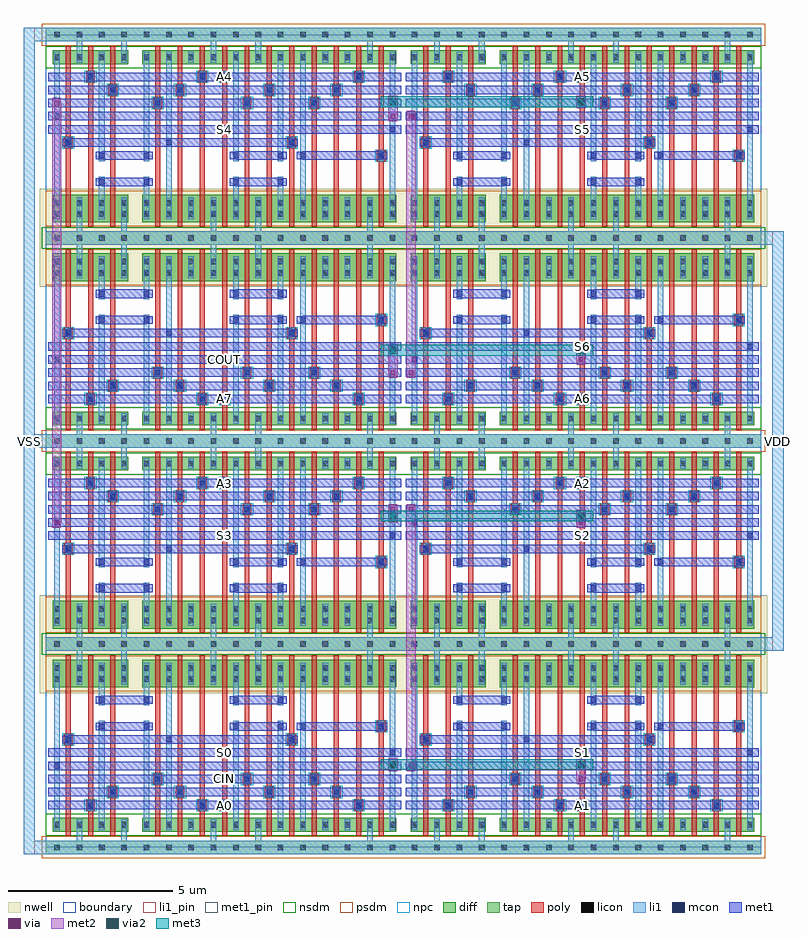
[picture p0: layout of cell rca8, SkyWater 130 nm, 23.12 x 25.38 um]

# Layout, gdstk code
import gdstk
lib = gdstk.Library(unit=1e-6, precision=1e-09)
def R(c, l, rs):  # rectangles x0, y0, x1, y1
    for r in rs: c.add(gdstk.rectangle(r[:2], r[2:], *l))
def A(c, l, x, y, w, h, nx, ny, dx, dy):  # array of equal rectangles
    R(c, l, [(x+i*dx, y+j*dy, x+i*dx+w, y+j*dy+h) for i in range(nx) for j in range(ny)])
nwell = (64, 20)
diff = (65, 20)
tap = (65, 44)
poly = (66, 20)
licon = (66, 44)
li1_pin = (67, 16)
li1 = (67, 20)
mcon = (67, 44)
met1_pin = (68, 16)
met1 = (68, 20)
via = (68, 44)
met2 = (69, 20)
via2 = (69, 44)
met3 = (70, 20)
nsdm = (93, 44)
psdm = (94, 20)
npc = (95, 20)
boundary = (235, 4)

c_fa = lib.new_cell('fa')
R(c_fa, nwell, [(-0.18,4.685,11.06,6.565)])
R(c_fa, diff, [(0.215,0.475,2.505,0.895), (2.935,0.475,10.665,0.895), (0.215,4.865,2.505,5.705), (2.935,4.865,10.665,5.705)])
R(c_fa, tap, [(0,-0.205,10.88,0.205), (0,5.975,10.88,6.385)])
A(c_fa, poly, 0.605, 0.345, 0.15, 0.68, 3, 1, 0.68, 0)
A(c_fa, poly, 3.325, 0.345, 0.15, 0.68, 11, 1, 0.68, 0)
A(c_fa, poly, 0.605, 1.025, 0.15, 3.71, 3, 1, 0.68, 0)
A(c_fa, poly, 3.325, 1.025, 0.15, 3.71, 11, 1, 0.68, 0)
A(c_fa, poly, 0.605, 4.735, 0.15, 1.1, 3, 1, 0.68, 0)
A(c_fa, poly, 3.325, 4.735, 0.15, 1.1, 11, 1, 0.68, 0)
R(c_fa, poly, [(1.225,1.115,1.495,1.445), (4.625,1.115,4.895,1.445), (5.305,1.115,5.575,1.445), (9.385,1.115,9.655,1.445), (1.905,1.515,2.175,1.845), (3.945,1.515,4.215,1.845), (6.665,1.515,6.935,1.845), (8.705,1.515,8.975,1.845), (3.265,1.915,3.535,2.245), (5.985,1.915,6.255,2.245), (8.025,1.915,8.295,2.245), (0.545,3.115,0.815,3.445), (7.345,3.115,7.615,3.445), (10.065,3.515,10.335,3.845)])
A(c_fa, licon, 0.255, -0.085, 0.17, 0.17, 16, 2, 0.68, 0.685)
A(c_fa, licon, 0.255, 5.03, 0.17, 0.17, 16, 2, 0.68, 0.34)
A(c_fa, licon, 0.255, 6.095, 0.17, 0.17, 16, 1, 0.68, 0)
R(c_fa, licon, [(1.275,1.195,1.445,1.365), (4.675,1.195,4.845,1.365), (5.355,1.195,5.525,1.365), (9.435,1.195,9.605,1.365), (1.955,1.595,2.125,1.765), (3.995,1.595,4.165,1.765), (6.715,1.595,6.885,1.765), (8.755,1.595,8.925,1.765), (3.315,1.995,3.485,2.165), (6.035,1.995,6.205,2.165), (8.075,1.995,8.245,2.165), (0.595,3.195,0.765,3.365), (7.395,3.195,7.565,3.365), (10.115,3.595,10.285,3.765)])
R(c_fa, li1_pin, [(0,-0.205,10.88,0.205), (0,5.975,10.88,6.385)])
A(c_fa, li1, 0.255, 0.52, 0.17, 0.33, 16, 1, 0.68, 0)
A(c_fa, li1, 0.255, 4.95, 0.17, 0.67, 16, 1, 0.68, 0)
R(c_fa, li1, [(0,-0.205,10.88,0.205), (0.935,0,1.105,0.52), (2.295,0,2.465,0.52), (5.015,0,5.185,0.52), (6.375,0,6.545,0.52), (9.775,0,9.945,0.52), (0.255,0.85,0.425,2.48), (1.615,0.85,1.785,3.68), (2.975,0.85,3.145,3.68), (3.655,0.85,3.825,3.28), (5.695,0.85,5.865,3.68), (7.055,0.85,7.225,3.68), (7.735,0.85,7.905,3.68), (10.455,0.85,10.625,2.88), (1.275,1.115,1.445,1.445), (4.675,1.115,4.845,1.445), (5.355,1.115,5.525,1.445), (9.435,1.115,9.605,1.445), (1.955,1.515,2.125,1.845), (3.995,1.515,4.165,1.845), (6.715,1.515,6.885,1.845), (8.755,1.515,8.925,1.845), (3.315,1.915,3.485,2.245), (6.035,1.915,6.205,2.245), (8.075,1.915,8.245,2.245), (0.255,2.315,0.425,2.645), (0.255,2.315,0.425,2.645), (0.255,2.48,0.425,4.95), (10.455,2.715,10.625,3.045), (10.455,2.715,10.625,3.045), (10.455,2.88,10.625,4.95), (0.595,3.115,0.765,3.445), (3.655,3.115,3.825,3.445), (3.655,3.115,3.825,3.445), (7.395,3.115,7.565,3.445), (3.655,3.28,3.825,4.95), (1.615,3.515,1.785,3.845), (2.975,3.515,3.145,3.845), (5.695,3.515,5.865,3.845), (7.055,3.515,7.225,3.845), (7.735,3.515,7.905,3.845), (7.735,3.515,7.905,3.845), (10.115,3.515,10.285,3.845), (7.735,3.68,7.905,4.95), (1.615,4.315,1.785,4.645), (2.975,4.315,3.145,4.645), (5.695,4.315,5.865,4.645), (7.055,4.315,7.225,4.645), (1.615,4.48,1.785,4.95), (2.975,4.48,3.145,4.95), (5.695,4.48,5.865,4.95), (7.055,4.48,7.225,4.95), (0.935,5.62,1.105,6.18), (2.295,5.62,2.465,6.18), (5.015,5.62,5.185,6.18), (6.375,5.62,6.545,6.18), (9.775,5.62,9.945,6.18), (0,5.975,10.88,6.385)])
R(c_fa, mcon, [(1.275,1.195,1.445,1.365), (4.675,1.195,4.845,1.365), (5.355,1.195,5.525,1.365), (9.435,1.195,9.605,1.365), (1.955,1.595,2.125,1.765), (3.995,1.595,4.165,1.765), (6.715,1.595,6.885,1.765), (8.755,1.595,8.925,1.765), (3.315,1.995,3.485,2.165), (6.035,1.995,6.205,2.165), (8.075,1.995,8.245,2.165), (0.255,2.395,0.425,2.565), (0.255,2.395,0.425,2.565), (10.455,2.795,10.625,2.965), (10.455,2.795,10.625,2.965), (0.595,3.195,0.765,3.365), (3.655,3.195,3.825,3.365), (3.655,3.195,3.825,3.365), (7.395,3.195,7.565,3.365), (1.615,3.595,1.785,3.765), (2.975,3.595,3.145,3.765), (5.695,3.595,5.865,3.765), (7.055,3.595,7.225,3.765), (7.735,3.595,7.905,3.765), (7.735,3.595,7.905,3.765), (10.115,3.595,10.285,3.765), (1.615,4.395,1.785,4.565), (2.975,4.395,3.145,4.565), (5.695,4.395,5.865,4.565), (7.055,4.395,7.225,4.565)])
A(c_fa, met1_pin, 0.07, 1.15, 10.74, 0.26, 1, 5, 0, 0.4)
A(c_fa, met1, 0.07, 1.15, 10.74, 0.26, 1, 5, 0, 0.4)
R(c_fa, met1, [(1.175,1.165,1.545,1.395), (4.575,1.165,4.945,1.395), (5.255,1.165,5.625,1.395), (9.335,1.165,9.705,1.395), (1.855,1.565,2.225,1.795), (3.895,1.565,4.265,1.795), (6.615,1.565,6.985,1.795), (8.655,1.565,9.025,1.795), (3.215,1.965,3.585,2.195), (5.935,1.965,6.305,2.195), (7.975,1.965,8.345,2.195), (0.155,2.365,0.525,2.595), (0.155,2.365,0.525,2.595), (10.355,2.765,10.725,2.995), (10.355,2.765,10.725,2.995), (0.68,3.15,7.48,3.41), (0.495,3.165,0.865,3.395), (3.555,3.165,3.925,3.395), (3.555,3.165,3.925,3.395), (7.295,3.165,7.665,3.395), (1.7,3.55,3.06,3.81), (5.78,3.55,7.14,3.81), (7.82,3.55,10.2,3.81), (1.515,3.565,1.885,3.795), (2.875,3.565,3.245,3.795), (5.595,3.565,5.965,3.795), (6.955,3.565,7.325,3.795), (7.635,3.565,8.005,3.795), (7.635,3.565,8.005,3.795), (10.015,3.565,10.385,3.795), (1.7,4.35,3.06,4.61), (5.78,4.35,7.14,4.61), (1.515,4.365,1.885,4.595), (2.875,4.365,3.245,4.595), (5.595,4.365,5.965,4.595), (6.955,4.365,7.325,4.595)])
R(c_fa, nsdm, [(0,0.35,10.88,1.02), (-0.125,5.85,11.005,6.51)])
R(c_fa, psdm, [(-0.125,-0.33,11.005,0.33), (0,4.74,10.88,5.83)])
R(c_fa, npc, [(1.175,1.095,1.545,1.465), (4.575,1.095,4.945,1.465), (5.255,1.095,5.625,1.465), (9.335,1.095,9.705,1.465), (1.855,1.495,2.225,1.865), (3.895,1.495,4.265,1.865), (6.615,1.495,6.985,1.865), (8.655,1.495,9.025,1.865), (3.215,1.895,3.585,2.265), (5.935,1.895,6.305,2.265), (7.975,1.895,8.345,2.265), (0.495,3.095,0.865,3.465), (7.295,3.095,7.665,3.465), (10.015,3.495,10.385,3.865)])
R(c_fa, boundary, [(0,0,10.88,6.18)])
c_fa.add(gdstk.Label('VSS', (5.44,0), layer=67, texttype=16))
c_fa.add(gdstk.Label('VDD', (5.44,6.18), layer=67, texttype=16))
c_fa.add(gdstk.Label('VSS', (5.44,0), layer=67, texttype=5))
c_fa.add(gdstk.Label('VDD', (5.44,6.18), layer=67, texttype=5))
c_fa.add(gdstk.Label('COUT', (5.44,2.48), layer=68, texttype=16))
c_fa.add(gdstk.Label('SUM', (5.44,2.88), layer=68, texttype=16))
c_fa.add(gdstk.Label('A', (5.44,1.28), layer=68, texttype=16))
c_fa.add(gdstk.Label('B', (5.44,1.68), layer=68, texttype=16))
c_fa.add(gdstk.Label('CIN', (5.44,2.08), layer=68, texttype=16))
c_fa.add(gdstk.Label('COUT', (5.44,2.48), layer=68, texttype=5))
c_fa.add(gdstk.Label('SUM', (5.44,2.88), layer=68, texttype=5))
c_fa.add(gdstk.Label('A', (5.44,1.28), layer=68, texttype=5))
c_fa.add(gdstk.Label('B', (5.44,1.68), layer=68, texttype=5))
c_fa.add(gdstk.Label('CIN', (5.44,2.08), layer=68, texttype=5))

rca8 = lib.new_cell('rca8')
R(rca8, li1_pin, [(-0.68,-0.205,-0.34,24.925), (22.1,5.975,22.44,18.745)])
A(rca8, li1, -0.68, -0.205, 0.68, 0.41, 1, 3, 0, 12.36)
R(rca8, li1, [(-0.68,-0.205,-0.34,24.925), (21.76,5.975,22.44,6.385), (22.1,5.975,22.44,18.745), (21.76,18.335,22.44,18.745)])
A(rca8, met1_pin, 0.07, 1.15, 10.74, 0.26, 1, 3, 0, 0.4)
R(rca8, met1_pin, [(10.95,1.15,21.69,1.41), (10.95,1.55,21.69,1.81), (0.07,2.75,10.81,3.01), (10.95,2.75,21.69,3.01), (0.07,9.35,10.81,9.61), (10.95,9.35,21.69,9.61), (0.07,10.55,10.81,10.81), (10.95,10.55,21.69,10.81), (0.07,10.95,10.81,11.21), (10.95,10.95,21.69,11.21), (0.07,13.51,10.81,13.77), (10.95,13.51,21.69,13.77), (0.07,13.91,10.81,14.17), (10.95,13.91,21.69,14.17), (0.07,14.71,10.81,14.97), (0.07,15.11,10.81,15.37), (10.95,15.11,21.69,15.37), (0.07,21.71,10.81,21.97), (10.95,21.71,21.69,21.97), (0.07,22.91,10.81,23.17), (10.95,22.91,21.69,23.17), (0.07,23.31,10.81,23.57), (10.95,23.31,21.69,23.57)])
R(rca8, met1, [(16.12,1.95,16.44,2.21), (10.4,2.35,10.72,2.61), (10.95,2.35,11.27,2.61), (0.17,9.75,0.49,10.01), (16.12,9.75,16.44,10.01), (10.4,10.15,10.72,10.41), (10.95,10.15,11.27,10.41), (10.4,14.31,10.72,14.57), (10.95,14.31,11.27,14.57), (16.12,14.71,16.44,14.97), (10.4,22.11,10.72,22.37), (10.95,22.11,11.27,22.37), (0.17,22.51,0.49,22.77), (16.12,22.51,16.44,22.77)])
R(rca8, via, [(16.205,2.005,16.355,2.155), (10.485,2.405,10.635,2.555), (11.035,2.405,11.185,2.555), (0.255,9.805,0.405,9.955), (16.205,9.805,16.355,9.955), (10.485,10.205,10.635,10.355), (11.035,10.205,11.185,10.355), (10.485,14.365,10.635,14.515), (11.035,14.365,11.185,14.515), (16.205,14.765,16.355,14.915), (10.485,22.165,10.635,22.315), (11.035,22.165,11.185,22.315), (0.255,22.565,0.405,22.715), (16.205,22.565,16.355,22.715)])
R(rca8, met2, [(16.15,1.92,16.41,2.24), (16.14,2.08,16.42,2.52), (10.43,2.32,10.69,2.64), (10.98,2.32,11.24,2.64), (10.42,2.335,10.7,2.705), (16.14,2.335,16.42,2.705), (10.42,2.48,10.7,2.52), (10.97,2.48,11.25,10.28), (0.2,9.72,0.46,10.04), (16.15,9.72,16.41,10.04), (0.19,9.88,0.47,22.64), (16.14,9.88,16.42,10.08), (10.42,9.895,10.7,10.265), (16.14,9.895,16.42,10.265), (10.42,10.08,10.7,10.28), (10.43,10.12,10.69,10.44), (10.98,10.12,11.24,10.44), (10.43,14.28,10.69,14.6), (10.98,14.28,11.24,14.6), (10.42,14.44,10.7,15.12), (10.97,14.44,11.25,22.24), (16.15,14.68,16.41,15), (16.14,14.84,16.42,15.12), (10.42,14.935,10.7,15.305), (16.14,14.935,16.42,15.305), (10.43,22.08,10.69,22.4), (10.98,22.08,11.24,22.4), (10.42,22.24,10.7,22.68), (0.2,22.48,0.46,22.8), (16.15,22.48,16.41,22.8), (10.42,22.495,10.7,22.865), (16.14,22.495,16.42,22.865), (16.14,22.64,16.42,22.68)])
R(rca8, via2, [(10.46,2.42,10.66,2.62), (16.18,2.42,16.38,2.62), (10.46,9.98,10.66,10.18), (16.18,9.98,16.38,10.18), (10.46,15.02,10.66,15.22), (16.18,15.02,16.38,15.22), (10.46,22.58,10.66,22.78), (16.18,22.58,16.38,22.78)])
R(rca8, met3, [(10.195,2.355,10.925,2.685), (10.56,2.355,16.28,2.685), (15.915,2.355,16.645,2.685), (10.195,9.915,10.925,10.245), (10.56,9.915,16.28,10.245), (15.915,9.915,16.645,10.245), (10.195,14.955,10.925,15.285), (10.56,14.955,16.28,15.285), (15.915,14.955,16.645,15.285), (10.195,22.515,10.925,22.845), (10.56,22.515,16.28,22.845), (15.915,22.515,16.645,22.845)])
rca8.add(gdstk.Reference(c_fa, (0,0)))
rca8.add(gdstk.Reference(c_fa, (10.88,0)))
rca8.add(gdstk.Reference(c_fa, (0,12.36), x_reflection=True))
rca8.add(gdstk.Reference(c_fa, (10.88,12.36), x_reflection=True))
rca8.add(gdstk.Reference(c_fa, (0,12.36)))
rca8.add(gdstk.Reference(c_fa, (10.88,12.36)))
rca8.add(gdstk.Reference(c_fa, (0,24.72), x_reflection=True))
rca8.add(gdstk.Reference(c_fa, (10.88,24.72), x_reflection=True))
rca8.add(gdstk.Label('VSS', (-0.51,12.36), layer=67, texttype=16))
rca8.add(gdstk.Label('VDD', (22.27,12.36), layer=67, texttype=16))
rca8.add(gdstk.Label('VSS', (-0.51,12.36), layer=67, texttype=5))
rca8.add(gdstk.Label('VDD', (22.27,12.36), layer=67, texttype=5))
rca8.add(gdstk.Label('A0', (5.44,1.28), layer=68, texttype=16))
rca8.add(gdstk.Label('A1', (16.32,1.28), layer=68, texttype=16))
rca8.add(gdstk.Label('A2', (16.32,11.08), layer=68, texttype=16))
rca8.add(gdstk.Label('A3', (5.44,11.08), layer=68, texttype=16))
rca8.add(gdstk.Label('A4', (5.44,23.44), layer=68, texttype=16))
rca8.add(gdstk.Label('A5', (16.32,23.44), layer=68, texttype=16))
rca8.add(gdstk.Label('A6', (16.32,13.64), layer=68, texttype=16))
rca8.add(gdstk.Label('A7', (5.44,13.64), layer=68, texttype=16))
rca8.add(gdstk.Label('B0', (5.44,1.68), layer=68, texttype=16))
rca8.add(gdstk.Label('B1', (16.32,1.68), layer=68, texttype=16))
rca8.add(gdstk.Label('B2', (16.32,10.68), layer=68, texttype=16))
rca8.add(gdstk.Label('B3', (5.44,10.68), layer=68, texttype=16))
rca8.add(gdstk.Label('B4', (5.44,23.04), layer=68, texttype=16))
rca8.add(gdstk.Label('B5', (16.32,23.04), layer=68, texttype=16))
rca8.add(gdstk.Label('B6', (16.32,14.04), layer=68, texttype=16))
rca8.add(gdstk.Label('B7', (5.44,14.04), layer=68, texttype=16))
rca8.add(gdstk.Label('CIN', (5.44,2.08), layer=68, texttype=16))
rca8.add(gdstk.Label('COUT', (5.44,14.84), layer=68, texttype=16))
rca8.add(gdstk.Label('S0', (5.44,2.88), layer=68, texttype=16))
rca8.add(gdstk.Label('S1', (16.32,2.88), layer=68, texttype=16))
rca8.add(gdstk.Label('S2', (16.32,9.48), layer=68, texttype=16))
rca8.add(gdstk.Label('S3', (5.44,9.48), layer=68, texttype=16))
rca8.add(gdstk.Label('S4', (5.44,21.84), layer=68, texttype=16))
rca8.add(gdstk.Label('S5', (16.32,21.84), layer=68, texttype=16))
rca8.add(gdstk.Label('S6', (16.32,15.24), layer=68, texttype=16))
rca8.add(gdstk.Label('S7', (5.44,15.24), layer=68, texttype=16))
rca8.add(gdstk.Label('A0', (5.44,1.28), layer=68, texttype=5))
rca8.add(gdstk.Label('A1', (16.32,1.28), layer=68, texttype=5))
rca8.add(gdstk.Label('A2', (16.32,11.08), layer=68, texttype=5))
rca8.add(gdstk.Label('A3', (5.44,11.08), layer=68, texttype=5))
rca8.add(gdstk.Label('A4', (5.44,23.44), layer=68, texttype=5))
rca8.add(gdstk.Label('A5', (16.32,23.44), layer=68, texttype=5))
rca8.add(gdstk.Label('A6', (16.32,13.64), layer=68, texttype=5))
rca8.add(gdstk.Label('A7', (5.44,13.64), layer=68, texttype=5))
rca8.add(gdstk.Label('B0', (5.44,1.68), layer=68, texttype=5))
rca8.add(gdstk.Label('B1', (16.32,1.68), layer=68, texttype=5))
rca8.add(gdstk.Label('B2', (16.32,10.68), layer=68, texttype=5))
rca8.add(gdstk.Label('B3', (5.44,10.68), layer=68, texttype=5))
rca8.add(gdstk.Label('B4', (5.44,23.04), layer=68, texttype=5))
rca8.add(gdstk.Label('B5', (16.32,23.04), layer=68, texttype=5))
rca8.add(gdstk.Label('B6', (16.32,14.04), layer=68, texttype=5))
rca8.add(gdstk.Label('B7', (5.44,14.04), layer=68, texttype=5))
rca8.add(gdstk.Label('CIN', (5.44,2.08), layer=68, texttype=5))
rca8.add(gdstk.Label('COUT', (5.44,14.84), layer=68, texttype=5))
rca8.add(gdstk.Label('S0', (5.44,2.88), layer=68, texttype=5))
rca8.add(gdstk.Label('S1', (16.32,2.88), layer=68, texttype=5))
rca8.add(gdstk.Label('S2', (16.32,9.48), layer=68, texttype=5))
rca8.add(gdstk.Label('S3', (5.44,9.48), layer=68, texttype=5))
rca8.add(gdstk.Label('S4', (5.44,21.84), layer=68, texttype=5))
rca8.add(gdstk.Label('S5', (16.32,21.84), layer=68, texttype=5))
rca8.add(gdstk.Label('S6', (16.32,15.24), layer=68, texttype=5))
rca8.add(gdstk.Label('S7', (5.44,15.24), layer=68, texttype=5))

lib.write_gds('rca8.gds')
